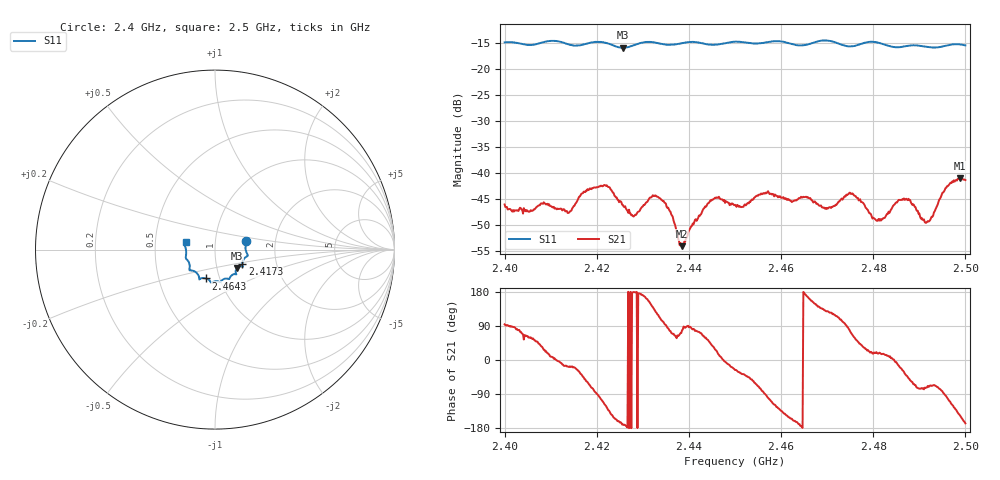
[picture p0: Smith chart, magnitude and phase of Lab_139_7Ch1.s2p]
# Hz S RI R 50
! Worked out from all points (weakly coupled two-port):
!   601 points, 2.4 GHz to 2.5 GHz, reference 50 ohm
!   highest |S21| = -41.00 dB at 2.4988 GHz (marker M1); lowest = -54.0 dB at 2.4385 GHz (marker M2)
!   lowest |S11| = -15.9 dB at 2.4257 GHz (marker M3), VSWR 1.38, Z = 62.4 - j13.2 ohm
!   |S11| at or under -10 dB: start of sweep to end of sweep
!   S12 and S22 are empty: the file has one direction only
!   S11 on the Smith chart (normalised r, x): 2.4 GHz: 1.41, +0.15; 2.4173 GHz: 1.34, -0.23; 2.4643 GHz: 0.86, -0.28; 2.5 GHz: 0.72, +0.06
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2.4e9  0.1734 0.0499  -0.000361 0.00499  0 0  0 0
2.414e9  0.1654 -0.0465  0.00398 -0.00132  0 0  0 0
2.416667e9  0.1529 -0.0747  0.005 -0.00391  0 0  0 0
2.417333e9  0.1522 -0.0821  0.00425 -0.00509  0 0  0 0
2.422167e9  0.151 -0.0942  -0.00438 -0.00627  0 0  0 0
2.425667e9  0.1227 -0.1026  -0.00488 -0.000867  0 0  0 0
2.428e9  0.1149 -0.1239  -0.00384 5.06e-05  0 0  0 0
2.433333e9  0.1126 -0.1364  -0.00286 0.00516  0 0  0 0
2.4385e9  0.0819 -0.1572  0.000407 0.00195  0 0  0 0
2.445e9  0.0556 -0.1619  0.00436 0.00346  0 0  0 0
2.45e9  0.0294 -0.181  0.00445 -0.00221  0 0  0 0
2.464333e9  -0.0504 -0.1608  -0.00591 -0.000544  0 0  0 0
2.466667e9  -0.0765 -0.1598  -0.00506 0.00224  0 0  0 0
2.470333e9  -0.0872 -0.1654  -0.00281 0.00374  0 0  0 0
2.475167e9  -0.1082 -0.1249  0.00198 0.006  0 0  0 0
2.480333e9  -0.1429 -0.1128  0.00346 0.00114  0 0  0 0
2.483333e9  -0.1409 -0.0896  0.00421 0.000734  0 0  0 0
2.4875e9  -0.1583 -0.0534  0.00389 -0.00389  0 0  0 0
2.491833e9  -0.1609 -0.0266  0.00127 -0.00322  0 0  0 0
2.4955e9  -0.1658 0.0152  -0.000133 -0.00685  0 0  0 0
2.498833e9  -0.169 0.0351  -0.00744 -0.00491  0 0  0 0
2.5e9  -0.1636 0.0415  -0.00837 -0.00189  0 0  0 0
